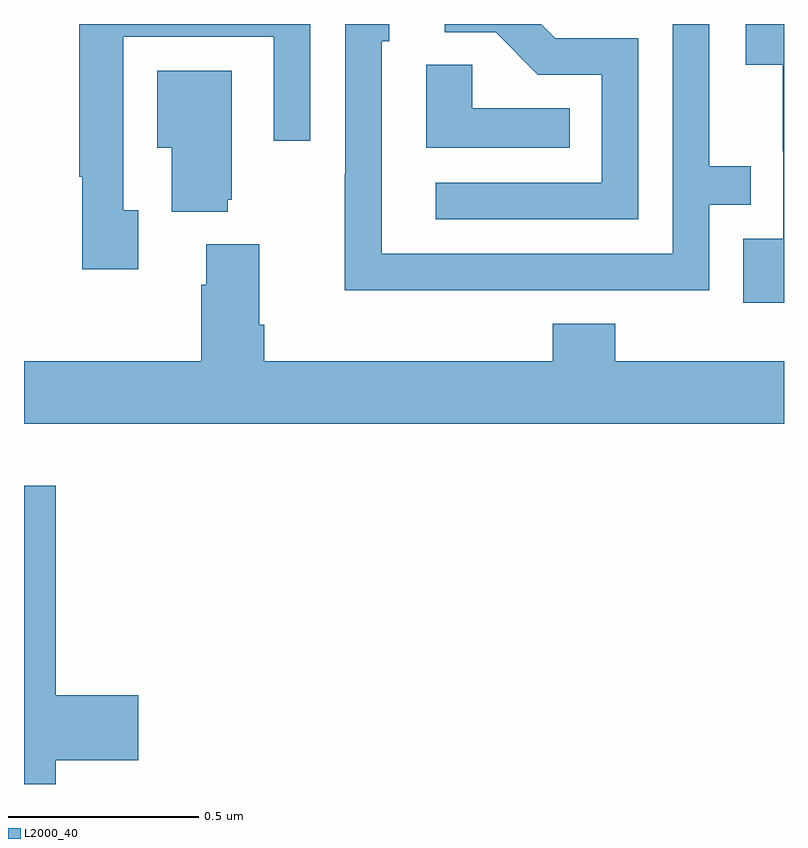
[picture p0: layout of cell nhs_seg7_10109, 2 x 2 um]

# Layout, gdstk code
import gdstk
lib = gdstk.Library(unit=1e-6, precision=1e-09)
def P(c, l, *ps):  # polygons
    for p in ps: c.add(gdstk.Polygon(p, *l))
L2000_40 = (2000, 40)

nhs_seg7_10109 = lib.new_cell('nhs_seg7_10109')
P(nhs_seg7_10109, L2000_40, [(247.307,1002.3),(247.803,1002.3),(247.803,1002.525),(247.913,1002.525),(247.913,1002.626),(247.803,1002.626),(247.803,1003),(247.707,1003),(247.707,1002.396),(246.942,1002.396),(246.942,1002.954),(246.961,1002.954),(246.961,1003),(246.846,1003),(246.846,1002.605),(246.844,1002.605),(246.844,1002.299),(247.307,1002.299)],
  [(248,1003),(247.899,1003),(247.899,1002.893),(247.997,1002.893),(247.997,1002.665),(247.998,1002.665),(247.998,1002.435),(247.893,1002.435),(247.893,1002.267),(248,1002.267)],
  [(247.617,1002.963),(247.398,1002.963),(247.361,1003),(247.107,1003),(247.107,1002.978),(247.241,1002.978),(247.352,1002.867),(247.521,1002.867),(247.521,1002.582),(247.083,1002.582),(247.083,1002.486),(247.617,1002.486)],
  [(246.301,1002.51),(246.261,1002.51),(246.261,1002.966),(246.657,1002.966),(246.657,1002.693),(246.753,1002.693),(246.753,1003),(246.145,1003),(246.145,1002.598),(246.153,1002.598),(246.153,1002.354),(246.301,1002.354)],
  [(247.436,1002.778),(247.179,1002.778),(247.179,1002.893),(247.058,1002.893),(247.058,1002.674),(247.436,1002.674)],
  [(246.536,1002.537),(246.547,1002.537),(246.547,1002.877),(246.35,1002.877),(246.35,1002.674),(246.389,1002.674),(246.389,1002.506),(246.536,1002.506)],
  [(246.619,1002.208),(246.619,1002.421),(246.479,1002.421),(246.479,1002.314),(246.467,1002.314),(246.467,1002.112),(246,1002.112),(246,1001.948),(248,1001.948),(248,1002.112),(247.556,1002.112),(247.556,1002.211),(247.391,1002.211),(247.391,1002.112),(246.632,1002.112),(246.632,1002.208)],
  [(246.083,1001.063),(246.301,1001.063),(246.301,1001.234),(246.083,1001.234),(246.083,1001.785),(246,1001.785),(246,1001),(246.083,1001)])

lib.write_gds('nhs_seg7_10109.gds')
